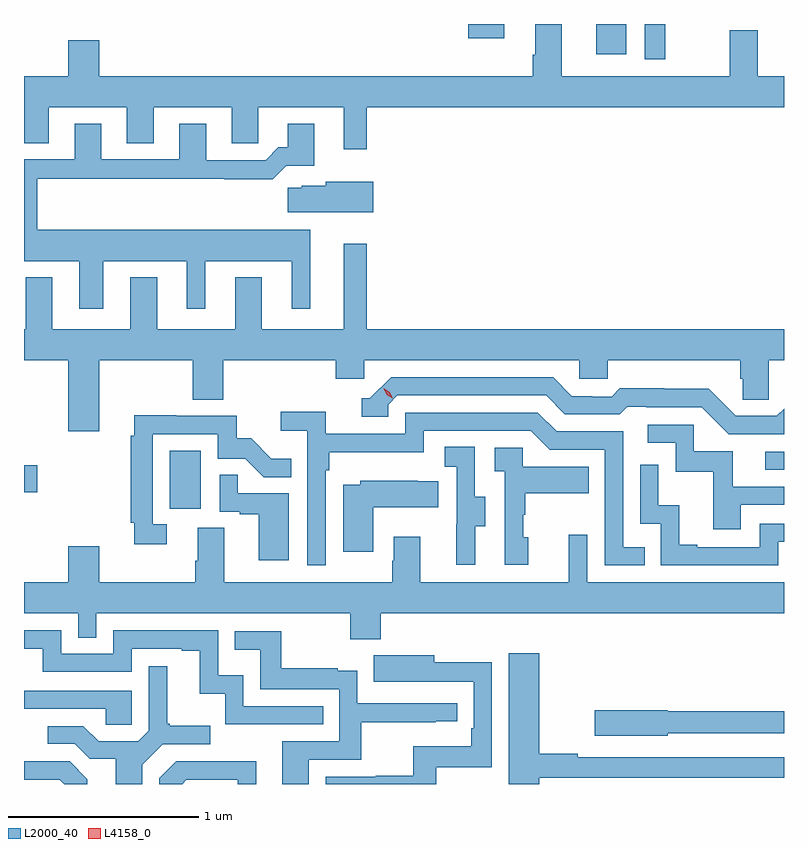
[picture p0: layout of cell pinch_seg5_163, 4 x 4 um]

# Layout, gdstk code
import gdstk
lib = gdstk.Library(unit=1e-6, precision=1e-09)
def R(c, l, rs):  # rectangles x0, y0, x1, y1
    for r in rs: c.add(gdstk.rectangle(r[:2], r[2:], *l))
def P(c, l, *ps):  # polygons
    for p in ps: c.add(gdstk.Polygon(p, *l))
L2000_40 = (2000, 40)
L4158_0 = (4158, 0)

pinch_seg5_163 = lib.new_cell('pinch_seg5_163')
R(pinch_seg5_163, L2000_40, [(1088.618,883.95,1088.782,884.257), (1087.851,884.038,1087.921,884.18), (1091.751,884.157,1091.851,884.25), (1091.118,886.317,1091.227,886.502), (1090.862,886.344,1091.02,886.502), (1090.189,886.428,1090.378,886.502)])
P(pinch_seg5_163, L2000_40, [(1089.655,886.064),(1091.851,886.064),(1091.851,886.228),(1091.713,886.228),(1091.713,886.468),(1091.566,886.468),(1091.566,886.228),(1090.681,886.228),(1090.681,886.502),(1090.541,886.502),(1090.541,886.34),(1090.529,886.34),(1090.529,886.228),(1088.248,886.228),(1088.248,886.417),(1088.084,886.417),(1088.084,886.228),(1087.851,886.228),(1087.851,885.874),(1087.981,885.874),(1087.981,886.064),(1088.393,886.064),(1088.393,885.874),(1088.533,885.874),(1088.533,886.064),(1088.945,886.064),(1088.945,885.874),(1089.084,885.874),(1089.084,886.064),(1089.533,886.064),(1089.533,885.843),(1089.655,885.843)],
  [(1088.269,885.254),(1088.708,885.254),(1088.708,885.003),(1088.806,885.003),(1088.806,885.254),(1089.26,885.254),(1089.26,885.003),(1089.358,885.003),(1089.358,885.418),(1087.921,885.418),(1087.921,885.688),(1088.905,885.688),(1088.905,885.686),(1089.161,885.686),(1089.231,885.756),(1089.379,885.756),(1089.379,885.976),(1089.239,885.976),(1089.239,885.853),(1089.19,885.853),(1089.123,885.786),(1088.809,885.786),(1088.809,885.976),(1088.669,885.976),(1088.669,885.789),(1088.257,885.789),(1088.257,885.976),(1088.117,885.976),(1088.117,885.789),(1087.851,885.789),(1087.851,885.254),(1088.141,885.254),(1088.141,885.003),(1088.269,885.003)],
  [(1089.688,885.673),(1089.438,885.673),(1089.438,885.652),(1089.312,885.652),(1089.312,885.641),(1089.24,885.641),(1089.24,885.512),(1089.688,885.512)],
  [(1088.248,884.732),(1088.74,884.732),(1088.74,884.524),(1088.9,884.524),(1088.9,884.732),(1089.491,884.732),(1089.491,884.634),(1089.642,884.634),(1089.642,884.732),(1090.773,884.732),(1090.773,884.634),(1090.923,884.634),(1090.923,884.732),(1091.621,884.732),(1091.621,884.634),(1091.635,884.634),(1091.635,884.524),(1091.772,884.524),(1091.772,884.732),(1091.851,884.732),(1091.851,884.896),(1089.655,884.896),(1089.655,885.346),(1089.533,885.346),(1089.533,884.896),(1089.103,884.896),(1089.103,885.169),(1088.963,885.169),(1088.963,884.896),(1088.551,884.896),(1088.551,885.169),(1088.411,885.169),(1088.411,884.896),(1087.999,884.896),(1087.999,885.169),(1087.859,885.169),(1087.859,884.896),(1087.851,884.896),(1087.851,884.732),(1088.084,884.732),(1088.084,884.358),(1088.248,884.358)],
  [(1091.851,884.476),(1091.814,884.439),(1091.598,884.439),(1091.456,884.581),(1091.22,884.581),(1091.22,884.584),(1090.987,884.584),(1090.945,884.541),(1090.842,884.541),(1090.842,884.544),(1090.735,884.544),(1090.636,884.643),(1089.783,884.643),(1089.672,884.532),(1089.629,884.532),(1089.629,884.436),(1089.768,884.436),(1089.768,884.499),(1089.816,884.547),(1090.599,884.547),(1090.698,884.448),(1090.987,884.448),(1091.026,884.487),(1091.125,884.487),(1091.125,884.484),(1091.418,884.484),(1091.559,884.343),(1091.851,884.343)],
  [(1089.438,884.153),(1089.458,884.153),(1089.458,884.249),(1089.954,884.249),(1089.954,884.361),(1090.518,884.361),(1090.617,884.262),(1090.908,884.262),(1090.908,883.653),(1091.117,883.653),(1091.117,883.749),(1091.004,883.749),(1091.004,884.358),(1090.654,884.358),(1090.555,884.457),(1089.858,884.457),(1089.858,884.346),(1089.44,884.346),(1089.44,884.462),(1089.201,884.462),(1089.201,884.36),(1089.342,884.36),(1089.342,883.653),(1089.438,883.653)],
  [(1088.602,883.869),(1088.529,883.869),(1088.529,884.343),(1088.871,884.343),(1088.871,884.214),(1089.015,884.214),(1089.113,884.116),(1089.257,884.116),(1089.257,884.215),(1089.153,884.215),(1089.046,884.322),(1088.97,884.322),(1088.97,884.439),(1088.651,884.439),(1088.651,884.444),(1088.432,884.444),(1088.432,884.336),(1088.413,884.336),(1088.413,883.876),(1088.432,883.876),(1088.432,883.764),(1088.602,883.764)],
  [(1091.623,883.971),(1091.851,883.971),(1091.851,884.067),(1091.581,884.067),(1091.581,884.253),(1091.376,884.253),(1091.376,884.394),(1091.133,884.394),(1091.133,884.298),(1091.28,884.298),(1091.28,884.145),(1091.479,884.145),(1091.479,883.842),(1091.623,883.842)],
  [(1090.225,883.858),(1090.279,883.858),(1090.279,884.013),(1090.224,884.013),(1090.224,884.276),(1090.065,884.276),(1090.065,884.173),(1090.128,884.173),(1090.128,883.869),(1090.127,883.869),(1090.127,883.656),(1090.225,883.656)],
  [(1090.504,883.8),(1090.479,883.8),(1090.479,883.919),(1090.489,883.919),(1090.489,884.033),(1090.823,884.033),(1090.823,884.173),(1090.476,884.173),(1090.476,884.271),(1090.329,884.271),(1090.329,884.147),(1090.38,884.147),(1090.38,883.656),(1090.504,883.656)],
  [(1091.82,883.776),(1091.851,883.776),(1091.851,883.872),(1091.724,883.872),(1091.724,883.749),(1091.395,883.749),(1091.395,883.762),(1091.3,883.762),(1091.3,883.97),(1091.19,883.97),(1091.19,884.182),(1091.094,884.182),(1091.094,883.872),(1091.202,883.872),(1091.202,883.653),(1091.82,883.653)],
  [(1089.244,884.031),(1088.975,884.031),(1088.975,884.129),(1088.88,884.129),(1088.88,883.935),(1088.987,883.935),(1088.987,883.923),(1089.086,883.923),(1089.086,883.68),(1089.244,883.68)],
  [(1089.688,883.958),(1090.031,883.958),(1090.031,884.095),(1089.923,884.095),(1089.923,884.098),(1089.621,884.098),(1089.621,884.077),(1089.53,884.077),(1089.53,883.725),(1089.688,883.725)],
  [(1089.728,883.4),(1091.851,883.4),(1091.851,883.564),(1090.815,883.564),(1090.815,883.813),(1090.718,883.813),(1090.718,883.564),(1089.937,883.564),(1089.937,883.804),(1089.797,883.804),(1089.797,883.676),(1089.79,883.676),(1089.79,883.564),(1088.905,883.564),(1088.905,883.85),(1088.765,883.85),(1088.765,883.676),(1088.753,883.676),(1088.753,883.564),(1088.248,883.564),(1088.248,883.753),(1088.084,883.753),(1088.084,883.564),(1087.851,883.564),(1087.851,883.4),(1088.136,883.4),(1088.136,883.273),(1088.232,883.273),(1088.232,883.4),(1089.568,883.4),(1089.568,883.265),(1089.728,883.265)],
  [(1089.425,882.912),(1089.006,882.912),(1089.006,883.075),(1088.874,883.075),(1088.874,883.311),(1088.322,883.311),(1088.322,883.188),(1088.046,883.188),(1088.046,883.311),(1087.851,883.311),(1087.851,883.215),(1087.95,883.215),(1087.95,883.092),(1088.418,883.092),(1088.418,883.215),(1088.681,883.215),(1088.681,883.203),(1088.777,883.203),(1088.777,882.977),(1088.91,882.977),(1088.91,882.816),(1089.425,882.816)],
  [(1089.349,882.63),(1089.626,882.63),(1089.626,882.826),(1090.019,882.826),(1090.019,882.831),(1090.132,882.831),(1090.132,882.927),(1089.606,882.927),(1089.606,883.099),(1089.503,883.099),(1089.503,883.111),(1089.205,883.111),(1089.205,883.305),(1088.959,883.305),(1088.959,883.208),(1089.094,883.208),(1089.094,883.002),(1089.51,883.002),(1089.51,882.726),(1089.209,882.726),(1089.209,882.502),(1089.349,882.502)],
  [(1090.564,882.534),(1091.851,882.534),(1091.851,882.642),(1090.766,882.642),(1090.766,882.662),(1090.564,882.662),(1090.564,883.189),(1090.403,883.189),(1090.403,882.502),(1090.564,882.502)],
  [(1090.021,882.591),(1090.314,882.591),(1090.314,883.142),(1090.009,883.142),(1090.009,883.18),(1089.691,883.18),(1089.691,883.04),(1089.905,883.04),(1089.905,883.041),(1090.218,883.041),(1090.218,882.796),(1090.205,882.796),(1090.205,882.7),(1089.9,882.7),(1089.9,882.545),(1089.703,882.545),(1089.703,882.54),(1089.438,882.54),(1089.438,882.502),(1090.021,882.502)],
  [(1088.473,882.604),(1088.58,882.711),(1088.83,882.711),(1088.83,882.808),(1088.617,882.808),(1088.617,882.82),(1088.605,882.82),(1088.605,883.123),(1088.508,883.123),(1088.508,882.783),(1088.451,882.726),(1088.245,882.726),(1088.164,882.807),(1087.977,882.807),(1087.977,882.714),(1088.118,882.714),(1088.198,882.634),(1088.333,882.634),(1088.333,882.502),(1088.473,882.502)],
  [(1088.418,882.993),(1087.851,882.993),(1087.851,882.897),(1088.281,882.897),(1088.281,882.813),(1088.418,882.813)],
  [(1091.238,882.768),(1091.851,882.768),(1091.851,882.884),(1091.238,882.884),(1091.238,882.89),(1090.854,882.89),(1090.854,882.755),(1091.238,882.755)],
  [(1088.706,882.525),(1088.976,882.525),(1088.976,882.502),(1089.073,882.502),(1089.073,882.623),(1088.868,882.623),(1088.868,882.621),(1088.652,882.621),(1088.562,882.531),(1088.562,882.502),(1088.683,882.502)],
  [(1088.185,882.527),(1088.091,882.621),(1087.851,882.621),(1087.851,882.525),(1088.04,882.525),(1088.063,882.502),(1088.185,882.502)])
P(pinch_seg5_163, L4158_0, [(1089.791,884.532),(1089.76,884.551),(1089.744,884.583),(1089.744,884.584),(1089.744,884.584),(1089.775,884.565),(1089.791,884.533),(1089.791,884.532)])

lib.write_gds('pinch_seg5_163.gds')
